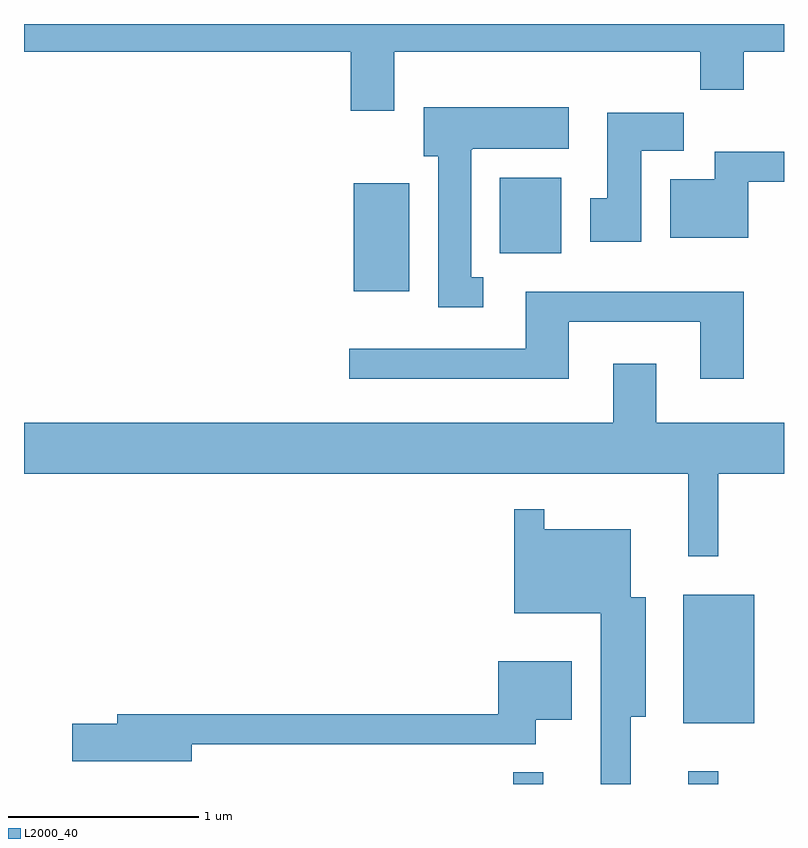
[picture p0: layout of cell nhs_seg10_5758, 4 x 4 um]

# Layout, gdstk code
import gdstk
lib = gdstk.Library(unit=1e-6, precision=1e-09)
def R(c, l, rs):  # rectangles x0, y0, x1, y1
    for r in rs: c.add(gdstk.rectangle(r[:2], r[2:], *l))
def P(c, l, *ps):  # polygons
    for p in ps: c.add(gdstk.Polygon(p, *l))
L2000_40 = (2000, 40)

nhs_seg10_5758 = lib.new_cell('nhs_seg10_5758')
R(nhs_seg10_5758, L2000_40, [(358.186,2094.522,358.344,2094.583), (359.106,2094.522,359.264,2094.588), (359.081,2094.841,359.454,2095.519), (357.346,2097.116,357.639,2097.684), (358.116,2097.316,358.439,2097.714)])
P(nhs_seg10_5758, L2000_40, [(357.559,2098.376),(359.171,2098.376),(359.171,2098.176),(359.399,2098.176),(359.399,2098.376),(359.611,2098.376),(359.611,2098.522),(355.611,2098.522),(355.611,2098.376),(357.331,2098.376),(357.331,2098.066),(357.559,2098.066)],
  [(358.028,2097.189),(357.964,2097.189),(357.964,2097.86),(357.97,2097.86),(357.97,2097.866),(358.479,2097.866),(358.479,2098.084),(357.716,2098.084),(357.716,2097.826),(357.791,2097.826),(357.791,2097.031),(358.028,2097.031)],
  [(358.859,2097.856),(359.084,2097.856),(359.084,2098.054),(358.681,2098.054),(358.681,2097.604),(358.591,2097.604),(358.591,2097.376),(358.859,2097.376)],
  [(359.424,2097.691),(359.611,2097.691),(359.611,2097.849),(359.246,2097.849),(359.246,2097.704),(359.011,2097.704),(359.011,2097.396),(359.424,2097.396)],
  [(358.479,2096.956),(359.171,2096.956),(359.171,2096.656),(359.399,2096.656),(359.399,2097.114),(358.251,2097.114),(358.251,2096.814),(357.323,2096.814),(357.323,2096.656),(358.479,2096.656)],
  [(359.264,2096.156),(359.611,2096.156),(359.611,2096.424),(358.939,2096.424),(358.939,2096.734),(358.711,2096.734),(358.711,2096.424),(355.611,2096.424),(355.611,2096.156),(359.106,2096.156),(359.106,2095.722),(359.264,2095.722)],
  [(358.804,2094.876),(358.884,2094.876),(358.884,2095.504),(358.804,2095.504),(358.804,2095.864),(358.349,2095.864),(358.349,2095.968),(358.191,2095.968),(358.191,2095.421),(358.646,2095.421),(358.646,2094.522),(358.804,2094.522)],
  [(356.494,2094.731),(358.304,2094.731),(358.304,2094.861),(358.494,2094.861),(358.494,2095.169),(358.106,2095.169),(358.106,2094.889),(356.101,2094.889),(356.101,2094.839),(355.866,2094.839),(355.866,2094.641),(356.494,2094.641)])

lib.write_gds('nhs_seg10_5758.gds')
